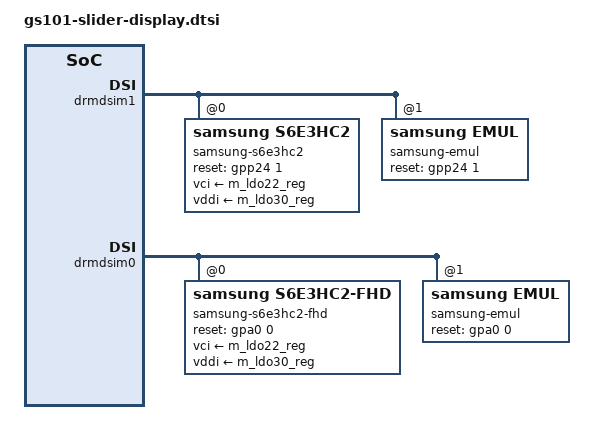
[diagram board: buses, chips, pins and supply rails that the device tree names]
// SPDX-License-Identifier: GPL-2.0-only
/*
 * Display nodes for slider-related boards.
 *
 * Copyright 2019 Google LLC
 *
 */

&drmdsim1 {
	#address-cells = <1>;
	#size-cells = <0>;

	te_from = <0>;
	/* EINT for TE */
	te-gpio = <&gpp0 3 0xf>;

	/* pinctrl */
	pinctrl-names = "hw_te_on", "hw_te_off";
	pinctrl-0 = <&disp_te_pri_on>;
	pinctrl-1 = <&disp_te_pri_off>;

	panel@0 {
		compatible = "samsung,s6e3hc2";
		label = "samsung-s6e3hc2";
		channel = <0>;
		touch = <&spitouch>;

		/* reset, power */
		reset-gpios = <&gpp24 1 GPIO_ACTIVE_HIGH>;
		vci-supply = <&m_ldo22_reg>;
		vddi-supply = <&m_ldo30_reg>;
	};
	panel@1 {
		compatible = "samsung,emul";
		label = "samsung-emul";
		channel = <0>;

		/* reset, power */
		reset-gpios = <&gpp24 1 GPIO_ACTIVE_HIGH>;
	};
};

&m_ldo30_reg {
	regulator-always-on;
};

&drmdsim0 {
	#address-cells = <1>;
	#size-cells = <0>;

	te_from = <1>;
	/* EINT for TE */
	te-gpio = <&gpp0 4 0xf>;

	/* pinctrl */
	pinctrl-names = "hw_te_on", "hw_te_off";
	pinctrl-0 = <&disp_te_sec_on>;
	pinctrl-1 = <&disp_te_sec_off>;

	panel@0 {
		compatible = "samsung,s6e3hc2-fhd";
		label = "samsung-s6e3hc2-fhd";
		channel = <0>;

		/* reset, power */
		reset-gpios = <&gpa0 0 GPIO_ACTIVE_HIGH>;
		vci-supply = <&m_ldo22_reg>;
		vddi-supply = <&m_ldo30_reg>;
	};
	panel@1 {
		compatible = "samsung,emul";
		label = "samsung-emul";
		channel = <0>;

		/* reset, power */
		reset-gpios = <&gpa0 0 GPIO_ACTIVE_HIGH>;
	};
};
